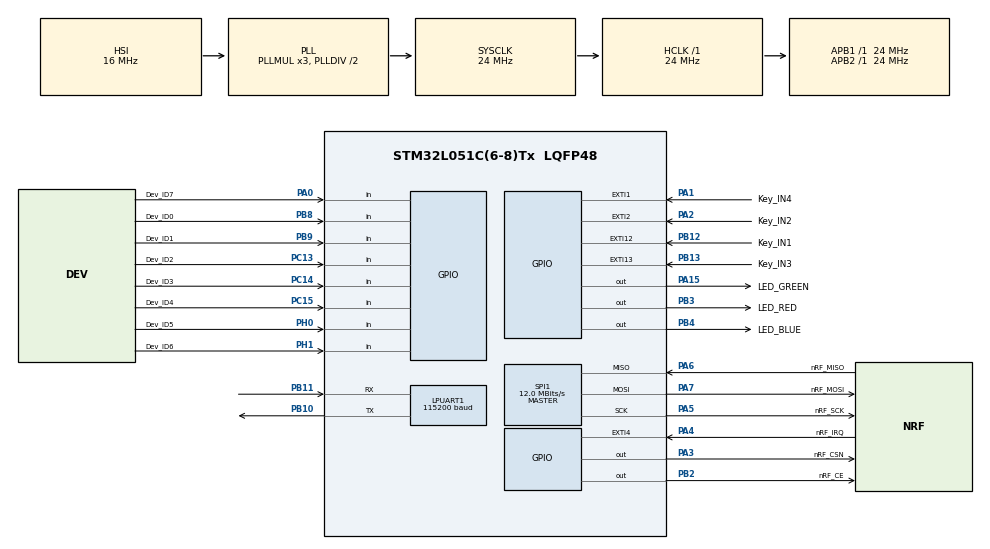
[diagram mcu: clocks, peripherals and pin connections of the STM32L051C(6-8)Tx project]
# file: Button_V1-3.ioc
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ADC.SamplingTime=ADC_SAMPLETIME_19CYCLES_5
LPUART1.BaudRate=115200
LPUART1.WordLength=UART_WORDLENGTH_8B
Mcu.Family=STM32L0
Mcu.Name=STM32L051C(6-8)Tx
Mcu.Package=LQFP48
NVIC.EXTI0_1_IRQn=true\:0\:0\:false\:false\:true\:true\:true\:true
NVIC.EXTI2_3_IRQn=true\:0\:0\:false\:false\:true\:true\:true\:true
NVIC.EXTI4_15_IRQn=true\:0\:0\:false\:false\:true\:true\:true\:true
PA0.GPIO_Label=Dev_ID7
PA0.GPIO_PuPd=GPIO_PULLDOWN
PA0.Signal=GPIO_Input
PA1.GPIO_Label=Key_IN4
PA1.GPIO_ModeDefaultEXTI=GPIO_MODE_IT_RISING
PA1.GPIO_PuPd=GPIO_PULLDOWN
PA1.Signal=GPXTI1
PA13.Mode=Serial_Wire
PA13.Signal=SYS_SWDIO
PA14.Mode=Serial_Wire
PA14.Signal=SYS_SWCLK
PA15.GPIO_Label=LED_GREEN
PA15.PinState=GPIO_PIN_SET
PA15.Signal=GPIO_Output
PA2.GPIO_Label=Key_IN2
PA2.GPIO_ModeDefaultEXTI=GPIO_MODE_IT_RISING
PA2.GPIO_PuPd=GPIO_PULLDOWN
PA2.Signal=GPXTI2
PA3.GPIO_Label=nRF_CSN
PA3.GPIO_Speed=GPIO_SPEED_FREQ_HIGH
PA3.PinState=GPIO_PIN_SET
PA3.Signal=GPIO_Output
PA4.GPIO_Label=nRF_IRQ
PA4.GPIO_ModeDefaultEXTI=GPIO_MODE_IT_FALLING
PA4.Signal=GPXTI4
PA5.GPIO_Label=nRF_SCK
PA5.Mode=Full_Duplex_Master
PA5.Signal=SPI1_SCK
PA6.GPIO_Label=nRF_MISO
PA6.Mode=Full_Duplex_Master
PA6.Signal=SPI1_MISO
PA7.GPIO_Label=nRF_MOSI
PA7.Mode=Full_Duplex_Master
PA7.Signal=SPI1_MOSI
PB10.Mode=Asynchronous
PB10.Signal=LPUART1_TX
PB11.Mode=Asynchronous
PB11.Signal=LPUART1_RX
PB12.GPIO_Label=Key_IN1
PB12.GPIO_ModeDefaultEXTI=GPIO_MODE_IT_RISING
PB12.GPIO_PuPd=GPIO_PULLDOWN
PB12.Signal=GPXTI12
PB13.GPIO_Label=Key_IN3
PB13.GPIO_ModeDefaultEXTI=GPIO_MODE_IT_RISING
PB13.GPIO_PuPd=GPIO_PULLDOWN
PB13.Signal=GPXTI13
PB2.GPIO_Label=nRF_CE
PB2.GPIO_Speed=GPIO_SPEED_FREQ_HIGH
PB2.Signal=GPIO_Output
PB3.GPIO_Label=LED_RED
PB3.PinState=GPIO_PIN_SET
PB3.Signal=GPIO_Output
PB4.GPIO_Label=LED_BLUE
PB4.PinState=GPIO_PIN_SET
PB4.Signal=GPIO_Output
PB8.GPIO_Label=Dev_ID0
PB8.GPIO_PuPd=GPIO_PULLDOWN
PB8.Signal=GPIO_Input
PB9.GPIO_Label=Dev_ID1
PB9.GPIO_PuPd=GPIO_PULLDOWN
PB9.Signal=GPIO_Input
PC13.GPIO_Label=Dev_ID2
PC13.GPIO_PuPd=GPIO_PULLDOWN
PC13.Signal=GPIO_Input
PC14-OSC32_IN.GPIO_Label=Dev_ID3
PC14-OSC32_IN.GPIO_PuPd=GPIO_PULLDOWN
PC14-OSC32_IN.Signal=GPIO_Input
PC15-OSC32_OUT.GPIO_Label=Dev_ID4
PC15-OSC32_OUT.GPIO_PuPd=GPIO_PULLDOWN
PC15-OSC32_OUT.Signal=GPIO_Input
PH0-OSC_IN.GPIO_Label=Dev_ID5
PH0-OSC_IN.GPIO_PuPd=GPIO_PULLDOWN
PH0-OSC_IN.Signal=GPIO_Input
PH1-OSC_OUT.GPIO_Label=Dev_ID6
PH1-OSC_OUT.GPIO_PuPd=GPIO_PULLDOWN
PH1-OSC_OUT.Signal=GPIO_Input
ProjectManager.HeapSize=0x200
ProjectManager.StackSize=0x400
ProjectManager.TargetToolchain=STM32CubeIDE
RCC.AHBFreq_Value=24000000
RCC.APB1Freq_Value=24000000
RCC.APB1TimFreq_Value=24000000
RCC.APB2Freq_Value=24000000
RCC.APB2TimFreq_Value=24000000
RCC.HCLKFreq_Value=24000000
RCC.HSE_VALUE=8000000
RCC.HSI16_VALUE=16000000
RCC.HSI_VALUE=16000000
RCC.LSE_VALUE=32768
RCC.MSI_VALUE=2097000
RCC.SYSCLKFreq_VALUE=24000000
RCC.SYSCLKSource=RCC_SYSCLKSOURCE_PLLCLK
RCC.VCOOutputFreq_Value=48000000
SPI1.CalculateBaudRate=12.0 MBits/s
SPI1.Direction=SPI_DIRECTION_2LINES
SPI1.Mode=SPI_MODE_MASTER
SPI1.VirtualType=VM_MASTER
VP_ADC_Vref_Input.Mode=IN-Vrefint
VP_TIM6_VS_ClockSourceINT.Mode=Enable_Timer
board=custom

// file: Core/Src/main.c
/* USER CODE BEGIN Header */
/**
  ******************************************************************************
  * @file           : main.c
  * @brief          : Main program body
  ******************************************************************************
  * @attention
  *
  * Copyright (c) 2023 STMicroelectronics.
  * All rights reserved.
  *
  * This software is licensed under terms that can be found in the LICENSE file
  * in the root directory of this software component.
  * If no LICENSE file comes with this software, it is provided AS-IS.
  *
  ******************************************************************************
  */
/* USER CODE END Header */
#include "main.h"

/* USER CODE BEGIN Includes */
#include <string.h>
#include <stdio.h>
#include "nrf24_Button.h"
/* USER CODE END Includes */

/* USER CODE BEGIN PD */

//#define Debug

/* USER CODE END PD */

ADC_HandleTypeDef hadc;

UART_HandleTypeDef hlpuart1;

SPI_HandleTypeDef hspi1;

TIM_HandleTypeDef htim6;

void SystemClock_Config(void);
static void MX_GPIO_Init(void);
static void MX_ADC_Init(void);
static void MX_LPUART1_UART_Init(void);
static void MX_SPI1_Init(void);
static void MX_TIM6_Init(void);

/* USER CODE BEGIN 0 */
uint8_t TxAddr[] = {0x00,0x34,0x36,0x52,0x53};
uint8_t RxAddr[] = {0x00,0x34,0x36,0x52,0x53};

uint16_t Press_Counter=0;
char counter_str[5];

uint8_t TxData[16];
uint8_t Button_ID = 0;
uint8_t RF_Channel_FRQ = 0;
uint16_t Batt_Vol = 0;
#define MIN_BATT_Vol 1000
uint8_t Need_To_Be_Charged = 0;
uint8_t Pressed_Key = 0;
uint8_t Sleep_Time = 0;
uint8_t Packet_Size = 16;
uint32_t adcValue;
float vddVoltage;
#define VREFINT_CAL_ADDR ((uint16_t*) ((uint32_t) 0x1FF80078))
#define VREFINT_VOLTAGE 3
uint16_t vrefintCalibrationValue;

#ifdef Timing_Test
uint32_t interrupt_time1 = 0;
uint32_t interrupt_time2 = 0;
uint32_t key1_time1 = 0;
uint32_t key1_time2 = 0;
uint32_t key2_time1 = 0;
uint32_t key2_time2 = 0;
uint32_t key3_time1 = 0;
uint32_t key3_time2 = 0;
uint32_t key4_time1 = 0;
uint32_t key4_time2 = 0;
uint32_t key1_time = 0;
uint32_t key2_time = 0;
uint32_t key3_time = 0;
uint32_t key4_time = 0;
uint32_t interrupt_time = 0;
uint32_t time_total = 0;
uint32_t ADC_time1 = 0;
uint32_t ADC_time2 = 0;
uint32_t interrupt_counter = 0;
#endif

uint8_t Read_Button_ID(void)
{
	uint8_t Addr = 0;
	Addr |= (HAL_GPIO_ReadPin(GPIOB, Dev_ID0_Pin) << 0);
	Addr |= (HAL_GPIO_ReadPin(GPIOB, Dev_ID1_Pin) << 1);
	Addr |= (HAL_GPIO_ReadPin(GPIOC, Dev_ID2_Pin) << 2);
	Addr |= (HAL_GPIO_ReadPin(GPIOC, Dev_ID3_Pin) << 3);
	Addr |= (HAL_GPIO_ReadPin(GPIOC, Dev_ID4_Pin) << 4);
	Addr |= (HAL_GPIO_ReadPin(GPIOH, Dev_ID5_Pin) << 5);
	Addr |= (HAL_GPIO_ReadPin(GPIOH, Dev_ID6_Pin) << 6);
	Addr |= (HAL_GPIO_ReadPin(Dev_ID7_GPIO_Port, Dev_ID7_Pin) << 7);

	return Addr;
}

// Dev_ID = 1  to 6   ---> Channel 100
// Dev_ID = 7  to 12  ---> Channel 101
// Dev_ID = 13 to 18  ---> Channel 102
// Dev_ID = 19 to 24  ---> Channel 103
// Dev_ID = 25 to 30  ---> Channel 104
// Dev_ID = 31 to 36  ---> Channel 105
uint8_t RF_Channel_Lookup(uint8_t ID)
{
	uint8_t RF_CH = 100 + ((ID-1) / 6);
	return RF_CH;
}

void HAL_GPIO_EXTI_Callback(uint16_t GPIO_Pin)
{
  /* Prevent unused argument(s) compilation warning */
  UNUSED(GPIO_Pin);

  /* NOTE : This function Should not be modified, when the callback is needed,
            the HAL_GPIO_EXTI_Callback could be implemented in the user file
   */

  HAL_NVIC_DisableIRQ(EXTI0_1_IRQn);
  HAL_NVIC_DisableIRQ(EXTI2_3_IRQn);
  HAL_NVIC_DisableIRQ(EXTI4_15_IRQn);

  /*** Wake up from stop mode in External Interrupt ***/
  SystemClock_Config();
  HAL_ResumeTick();
#ifndef Debug
  HAL_UART_Transmit(&hlpuart1, (uint8_t *)"WAKEUP from EXTI\n\n",18, HAL_MAX_DELAY);
#endif
#ifdef Timing_Test
  interrupt_time1 = HAL_GetTick();
#endif
  for (volatile uint32_t i = 0; i < 100000; i++);

  Press_Counter++;
  if(Press_Counter>65534) Press_Counter=0;

  if (GPIO_Pin == Key_IN1_Pin)
  {
#ifndef Debug
	  HAL_UART_Transmit(&hlpuart1, (uint8_t *)"Key1 Was pressed\n\n",18, HAL_MAX_DELAY);
#endif
	  Pressed_Key = 1;
  }
  if (GPIO_Pin == Key_IN2_Pin)
  {
#ifndef Debug
	  HAL_UART_Transmit(&hlpuart1, (uint8_t *)"Key2 Was pressed\n\n",18, HAL_MAX_DELAY);
#endif
	  Pressed_Key = 2;
  }
  if (GPIO_Pin == Key_IN3_Pin)
  {
#ifndef Debug
	  HAL_UART_Transmit(&hlpuart1, (uint8_t *)"Key3 Was pressed\n\n",18, HAL_MAX_DELAY);
#endif
	  Pressed_Key = 3;
  }
  if (GPIO_Pin == Key_IN4_Pin)
  {
#ifndef Debug
	  HAL_UART_Transmit(&hlpuart1, (uint8_t *)"Key4 Was pressed\n\n",18, HAL_MAX_DELAY);
#endif
	  Pressed_Key = 4;
  }
  //__HAL_GPIO_EXTI_CLEAR_IT(GPIO_Pin);
  HAL_NVIC_ClearPendingIRQ(EXTI0_1_IRQn);
  HAL_NVIC_ClearPendingIRQ(EXTI2_3_IRQn);
  HAL_NVIC_ClearPendingIRQ(EXTI4_15_IRQn);

  HAL_NVIC_EnableIRQ(EXTI0_1_IRQn);
  HAL_NVIC_EnableIRQ(EXTI2_3_IRQn);
  HAL_NVIC_EnableIRQ(EXTI4_15_IRQn);

#ifdef Timing_Test
  interrupt_time2 = HAL_GetTick();
#endif
}

/* USER CODE END 0 */

int main(void)
{

  /* MCU Configuration--------------------------------------------------------*/

  /* Reset of all peripherals, Initializes the Flash interface and the Systick. */
  HAL_Init();

  /* Configure the system clock */
  SystemClock_Config();

  /* Initialize all configured peripherals */
  MX_GPIO_Init();
  MX_ADC_Init();
  MX_LPUART1_UART_Init();
  MX_SPI1_Init();
  MX_TIM6_Init();
  /* USER CODE BEGIN 2 */

  HAL_Delay(10000);

  Button_ID = Read_Button_ID();                                       //Reading the Button ID through DIP Switch
  TxData[0] = Button_ID;
  RF_Channel_FRQ = RF_Channel_Lookup(Button_ID);                      //Define the Frequency Channel based on the Button_ID
  TxAddr[0] = Button_ID;                                              //Set the RF Module TxAddr based on Button_ID
  RxAddr[0] = Button_ID;                                              //Set the RF Module RxAddr based on Button_ID

  nRF24_Reset(nRF_CSN_Pin, nRF24_REG_STATUS);

  nRF24_Module_Setup(nRF_CSN_Pin, Transmitter_Mode_noAA_noCRC,
		             RF_Channel_FRQ, TxAddr, RxAddr, MBPS1_0dBm,
					 Packet_Size);

  nRF24_Register_Display(nRF_CSN_Pin);

  /* USER CODE END 2 */

  /* Infinite loop */
  while (1)
  {

    /* USER CODE BEGIN 3 */
	  //HAL_GPIO_TogglePin(LED_GREEN_GPIO_Port, LED_GREEN_Pin);
	  //HAL_GPIO_TogglePin(GPIOB, LED_BLUE_Pin);
	  //HAL_GPIO_TogglePin(GPIOB, LED_RED_Pin);
	  //HAL_Delay(500);

	  // Start ADC conversion
#ifdef Timing_Test
	  ADC_time1 = HAL_GetTick();
#endif
	  HAL_ADC_Start(&hadc);

	  if (HAL_ADC_PollForConversion(&hadc, 50) == HAL_OK)
	  {
		  adcValue = HAL_ADC_GetValue(&hadc);
		  vrefintCalibrationValue = *VREFINT_CAL_ADDR;
		  // Calculate VDD voltage
		  vddVoltage = ((float)vrefintCalibrationValue * VREFINT_VOLTAGE) / (float)adcValue;
		  vddVoltage = vddVoltage * 1.04;             //Based on the calculations and measurements, the MCU voltage usually be read %4 less than actual value

#ifdef Batt_Voltage_Test
		  char VDD_buffer[10];  // Buffer to hold the converted string
		  sprintf(VDD_buffer, "%.3f", vddVoltage);  // Convert integer to string
		  HAL_UART_Transmit(&hlpuart1, (uint8_t*)"vddVoltage: ", 12, 1000);
		  HAL_UART_Transmit(&hlpuart1, (uint8_t*)VDD_buffer, strlen(VDD_buffer), 1000);
		  HAL_UART_Transmit(&hlpuart1, (uint8_t*)"\n", 1, 1000);
#endif

		  if(vddVoltage < 3)
		  {
			  Need_To_Be_Charged = 1;
		  }
		  else
		  {
			  Need_To_Be_Charged = 0;
		  }
	  }
	  else
	  {
		  HAL_UART_Transmit(&hlpuart1, (uint8_t *)"ADC ERROR\n", 10, 10);
	  }
#ifdef Timing_Test
	  ADC_time2 = HAL_GetTick();
#endif

	  HAL_Delay(1);
	  //key1
	  if (Pressed_Key == 1)
	  {
#ifdef Timing_Test
		  key1_time1 = HAL_GetTick();
#endif
		  Pressed_Key = 0;

		  TxData[1] = 1;
		  nRF24_Transmit(nRF_CSN_Pin, TxData, Packet_Size);

		  //Check for the Battery Voltage to select the LED Color 2n4 a   1n3 b
		  while(HAL_GPIO_ReadPin(GPIOB, Key_IN1_Pin) == GPIO_PIN_SET)
		  {
			  if(Need_To_Be_Charged == 1)
			  {
				  HAL_GPIO_WritePin(GPIOB, LED_RED_Pin, GPIO_PIN_RESET);
			  }
			  else
			  {
			  	  HAL_GPIO_WritePin(LED_GREEN_GPIO_Port, LED_GREEN_Pin, GPIO_PIN_RESET);
	    	  }
		  }
		  HAL_GPIO_WritePin(GPIOB, LED_RED_Pin, GPIO_PIN_SET);
		  HAL_GPIO_WritePin(LED_GREEN_GPIO_Port, LED_GREEN_Pin, GPIO_PIN_SET);
#ifndef Debug
		  nRF24_Transmit_Report(nRF_CSN_Pin);
#endif
#ifdef Timing_Test
		  key1_time2 = HAL_GetTick();
#endif
	  }
	  //key2
	  if (Pressed_Key == 2)
	  {
#ifdef Timing_Test
		  key2_time1 = HAL_GetTick();
#endif
		  Pressed_Key = 0;

		  TxData[1] = 2;
		  nRF24_Transmit(nRF_CSN_Pin, TxData, Packet_Size);

		  //Check the Battery Voltage to select the LED Color 2n4 a   1n3 b
		  while(HAL_GPIO_ReadPin(GPIOA, Key_IN2_Pin) == GPIO_PIN_SET)
		  {
			  if(Need_To_Be_Charged == 1)
			  {
				  HAL_GPIO_WritePin(GPIOB, LED_RED_Pin, GPIO_PIN_RESET);
			  }
			  else
			  {
			  	  HAL_GPIO_WritePin(LED_GREEN_GPIO_Port, LED_GREEN_Pin, GPIO_PIN_RESET);
	    	  }
		  }
		  HAL_GPIO_WritePin(GPIOB, LED_RED_Pin, GPIO_PIN_SET);
		  HAL_GPIO_WritePin(LED_GREEN_GPIO_Port, LED_GREEN_Pin, GPIO_PIN_SET);
#ifndef Debug
		  nRF24_Transmit_Report(nRF_CSN_Pin);
#endif
#ifdef Timing_Test
		  key2_time2 = HAL_GetTick();
#endif
	  }
	  //key3
	  if (Pressed_Key == 3)
	  {
#ifdef Timing_Test
		  key3_time1 = HAL_GetTick();
#endif
		  Pressed_Key = 0;

		  TxData[1] = 3;
		  nRF24_Transmit(nRF_CSN_Pin, TxData, Packet_Size);

		  //Check for the Battery Voltage to select the LED Color 2n4 a   1n3 b
		  while(HAL_GPIO_ReadPin(GPIOB, Key_IN3_Pin) == GPIO_PIN_SET)
		  {
			  if(Need_To_Be_Charged == 1)
			  {
				  HAL_GPIO_WritePin(GPIOB, LED_RED_Pin, GPIO_PIN_RESET);
			  }
			  else
			  {
			  	  HAL_GPIO_WritePin(LED_GREEN_GPIO_Port, LED_GREEN_Pin, GPIO_PIN_RESET);
	    	  }
		  }
		  HAL_GPIO_WritePin(GPIOB, LED_RED_Pin, GPIO_PIN_SET);
		  HAL_GPIO_WritePin(LED_GREEN_GPIO_Port, LED_GREEN_Pin, GPIO_PIN_SET);
#ifndef Debug
		  nRF24_Transmit_Report(nRF_CSN_Pin);
#endif
#ifdef Timing_Test
		  key3_time2 = HAL_GetTick();
#endif
	  }

	  //key4
	  if (Pressed_Key == 4)
	  {
#ifdef Timing_Test
		  key4_time1 = HAL_GetTick();
#endif
		  Pressed_Key = 0;

		  TxData[1] = 4;
		  nRF24_Transmit(nRF_CSN_Pin, TxData, Packet_Size);

		  //Check for the Battery Voltage to select the LED Color 2n4 a   1n3 b
		  while(HAL_GPIO_ReadPin(GPIOA, Key_IN4_Pin) == GPIO_PIN_SET)
		  {
			  if(Need_To_Be_Charged == 1)
			  {
				  HAL_GPIO_WritePin(GPIOB, LED_RED_Pin, GPIO_PIN_RESET);
			  }
			  else
			  {
			  	  HAL_GPIO_WritePin(LED_GREEN_GPIO_Port, LED_GREEN_Pin, GPIO_PIN_RESET);
	    	  }
		  }
		  HAL_GPIO_WritePin(GPIOB, LED_RED_Pin, GPIO_PIN_SET);
		  HAL_GPIO_WritePin(LED_GREEN_GPIO_Port, LED_GREEN_Pin, GPIO_PIN_SET);
#ifndef Debug
		  nRF24_Transmit_Report(nRF_CSN_Pin);
#endif
#ifdef Timing_Test
		  key4_time2 = HAL_GetTick();
#endif
	  }

	  HAL_Delay(1);
#ifndef Debug
	  char *message = "About to Go into the STOP mode\n\n";
	  HAL_UART_Transmit(&hlpuart1, (uint8_t *)message, strlen (message), 100);    //Last Words
#endif
#ifdef Timing_Test
	  key1_time = key1_time2 - key1_time1;
	  key1_time1 = 0;
	  key1_time2 = 0;
	  key2_time = key2_time2 - key2_time1;
	  key2_time1 = 0;
	  key2_time2 = 0;
	  key3_time = key3_time2 - key3_time1;
	  key3_time1 = 0;
	  key3_time2 = 0;
	  key4_time = key4_time2 - key4_time1;
	  key4_time1 = 0;
	  key4_time2 = 0;
	  time_total = key1_time + key2_time + key3_time + key4_time;
	  interrupt_time = interrupt_time2 - interrupt_time1;

	  char time_buffer[10];  // Buffer to hold the converted string

	  sprintf(time_buffer, "%d", key1_time);  // Convert integer to string
	  HAL_UART_Transmit(&hlpuart1, (uint8_t*)"key1_time: ", 11, 1000);
	  HAL_UART_Transmit(&hlpuart1, (uint8_t*)time_buffer, strlen(time_buffer), 1000);
	  HAL_UART_Transmit(&hlpuart1, (uint8_t*)"\n", 1, 1000);

	  sprintf(time_buffer, "%d", key2_time);  // Convert integer to string
	  HAL_UART_Transmit(&hlpuart1, (uint8_t*)"key2_time: ", 11, 1000);
	  HAL_UART_Transmit(&hlpuart1, (uint8_t*)time_buffer, strlen(time_buffer), 1000);
	  HAL_UART_Transmit(&hlpuart1, (uint8_t*)"\n", 1, 1000);

	  sprintf(time_buffer, "%d", key3_time);  // Convert integer to string
	  HAL_UART_Transmit(&hlpuart1, (uint8_t*)"key3_time: ", 11, 1000);
	  HAL_UART_Transmit(&hlpuart1, (uint8_t*)time_buffer, strlen(time_buffer), 1000);
	  HAL_UART_Transmit(&hlpuart1, (uint8_t*)"\n", 1, 1000);

	  sprintf(time_buffer, "%d", key4_time);  // Convert integer to string
	  HAL_UART_Transmit(&hlpuart1, (uint8_t*)"key4_time: ", 11, 1000);
	  HAL_UART_Transmit(&hlpuart1, (uint8_t*)time_buffer, strlen(time_buffer), 1000);
	  HAL_UART_Transmit(&hlpuart1, (uint8_t*)"\n", 1, 1000);

	  sprintf(time_buffer, "%d", interrupt_time);  // Convert integer to string
	  HAL_UART_Transmit(&hlpuart1, (uint8_t*)"interrupt_time: ", 16, 1000);
	  HAL_UART_Transmit(&hlpuart1, (uint8_t*)time_buffer, strlen(time_buffer), 1000);
	  HAL_UART_Transmit(&hlpuart1, (uint8_t*)"\n", 1, 1000);

	  sprintf(time_buffer, "%d", time_total);  // Convert integer to string
	  HAL_UART_Transmit(&hlpuart1, (uint8_t*)"time_total: ", 12, 1000);
	  HAL_UART_Transmit(&hlpuart1, (uint8_t*)time_buffer, strlen(time_buffer), 1000);
	  HAL_UART_Transmit(&hlpuart1, (uint8_t*)"\n", 1, 1000);

	  sprintf(time_buffer, "%d", Press_Counter);  // Convert integer to string
	  HAL_UART_Transmit(&hlpuart1, (uint8_t*)"Press_Counter: ", 15, 1000);
	  HAL_UART_Transmit(&hlpuart1, (uint8_t*)time_buffer, strlen(time_buffer), 1000);
	  HAL_UART_Transmit(&hlpuart1, (uint8_t*)"\n", 1, 1000);

	  key1_time = 0;
	  key2_time = 0;
	  key3_time = 0;
	  key4_time = 0;
	  time_total = 0;
#endif

	  HAL_SuspendTick();                                                          //Suspend the sys tick before going into stop mode
	  HAL_PWR_EnterSTOPMode(PWR_LOWPOWERREGULATOR_ON, PWR_STOPENTRY_WFI);         //Enter the stop mode

  }
  /* USER CODE END 3 */
}

void SystemClock_Config(void)
{
  RCC_OscInitTypeDef RCC_OscInitStruct = {0};
  RCC_ClkInitTypeDef RCC_ClkInitStruct = {0};
  RCC_PeriphCLKInitTypeDef PeriphClkInit = {0};

  /** Configure the main internal regulator output voltage
  */
  __HAL_PWR_VOLTAGESCALING_CONFIG(PWR_REGULATOR_VOLTAGE_SCALE1);

  /** Initializes the RCC Oscillators according to the specified parameters
  * in the RCC_OscInitTypeDef structure.
  */
  RCC_OscInitStruct.OscillatorType = RCC_OSCILLATORTYPE_HSI;
  RCC_OscInitStruct.HSIState = RCC_HSI_ON;
  RCC_OscInitStruct.HSICalibrationValue = RCC_HSICALIBRATION_DEFAULT;
  RCC_OscInitStruct.PLL.PLLState = RCC_PLL_ON;
  RCC_OscInitStruct.PLL.PLLSource = RCC_PLLSOURCE_HSI;
  RCC_OscInitStruct.PLL.PLLMUL = RCC_PLLMUL_3;
  RCC_OscInitStruct.PLL.PLLDIV = RCC_PLLDIV_2;
  if (HAL_RCC_OscConfig(&RCC_OscInitStruct) != HAL_OK)
  {
    Error_Handler();
  }

  /** Initializes the CPU, AHB and APB buses clocks
  */
  RCC_ClkInitStruct.ClockType = RCC_CLOCKTYPE_HCLK|RCC_CLOCKTYPE_SYSCLK
                              |RCC_CLOCKTYPE_PCLK1|RCC_CLOCKTYPE_PCLK2;
  RCC_ClkInitStruct.SYSCLKSource = RCC_SYSCLKSOURCE_PLLCLK;
  RCC_ClkInitStruct.AHBCLKDivider = RCC_SYSCLK_DIV1;
  RCC_ClkInitStruct.APB1CLKDivider = RCC_HCLK_DIV1;
  RCC_ClkInitStruct.APB2CLKDivider = RCC_HCLK_DIV1;

  if (HAL_RCC_ClockConfig(&RCC_ClkInitStruct, FLASH_LATENCY_1) != HAL_OK)
  {
    Error_Handler();
  }
  PeriphClkInit.PeriphClockSelection = RCC_PERIPHCLK_LPUART1;
  PeriphClkInit.Lpuart1ClockSelection = RCC_LPUART1CLKSOURCE_PCLK1;
  if (HAL_RCCEx_PeriphCLKConfig(&PeriphClkInit) != HAL_OK)
  {
    Error_Handler();
  }
}

static void MX_ADC_Init(void)
{

  ADC_ChannelConfTypeDef sConfig = {0};

  /** Configure the global features of the ADC (Clock, Resolution, Data Alignment and number of conversion)
  */
  hadc.Instance = ADC1;
  hadc.Init.OversamplingMode = DISABLE;
  hadc.Init.ClockPrescaler = ADC_CLOCK_SYNC_PCLK_DIV2;
  hadc.Init.Resolution = ADC_RESOLUTION_12B;
  hadc.Init.SamplingTime = ADC_SAMPLETIME_1CYCLE_5;
  hadc.Init.ScanConvMode = ADC_SCAN_DIRECTION_FORWARD;
  hadc.Init.DataAlign = ADC_DATAALIGN_RIGHT;
  hadc.Init.ContinuousConvMode = DISABLE;
  hadc.Init.DiscontinuousConvMode = DISABLE;
  hadc.Init.ExternalTrigConvEdge = ADC_EXTERNALTRIGCONVEDGE_NONE;
  hadc.Init.ExternalTrigConv = ADC_SOFTWARE_START;
  hadc.Init.DMAContinuousRequests = DISABLE;
  hadc.Init.EOCSelection = ADC_EOC_SINGLE_CONV;
  hadc.Init.Overrun = ADC_OVR_DATA_PRESERVED;
  hadc.Init.LowPowerAutoWait = DISABLE;
  hadc.Init.LowPowerFrequencyMode = DISABLE;
  hadc.Init.LowPowerAutoPowerOff = DISABLE;
  if (HAL_ADC_Init(&hadc) != HAL_OK)
  {
    Error_Handler();
  }

  /** Configure for the selected ADC regular channel to be converted.
  */
  sConfig.Channel = ADC_CHANNEL_VREFINT;
  sConfig.Rank = ADC_RANK_CHANNEL_NUMBER;
  if (HAL_ADC_ConfigChannel(&hadc, &sConfig) != HAL_OK)
  {
    Error_Handler();
  }

}

static void MX_LPUART1_UART_Init(void)
{

  hlpuart1.Instance = LPUART1;
  hlpuart1.Init.BaudRate = 115200;
  hlpuart1.Init.WordLength = UART_WORDLENGTH_8B;
  hlpuart1.Init.StopBits = UART_STOPBITS_1;
  hlpuart1.Init.Parity = UART_PARITY_NONE;
  hlpuart1.Init.Mode = UART_MODE_TX_RX;
  hlpuart1.Init.HwFlowCtl = UART_HWCONTROL_NONE;
  hlpuart1.Init.OneBitSampling = UART_ONE_BIT_SAMPLE_DISABLE;
  hlpuart1.AdvancedInit.AdvFeatureInit = UART_ADVFEATURE_NO_INIT;
  if (HAL_UART_Init(&hlpuart1) != HAL_OK)
  {
    Error_Handler();
  }

}

static void MX_SPI1_Init(void)
{

  /* SPI1 parameter configuration*/
  hspi1.Instance = SPI1;
  hspi1.Init.Mode = SPI_MODE_MASTER;
  hspi1.Init.Direction = SPI_DIRECTION_2LINES;
  hspi1.Init.DataSize = SPI_DATASIZE_8BIT;
  hspi1.Init.CLKPolarity = SPI_POLARITY_LOW;
  hspi1.Init.CLKPhase = SPI_PHASE_1EDGE;
  hspi1.Init.NSS = SPI_NSS_SOFT;
  hspi1.Init.BaudRatePrescaler = SPI_BAUDRATEPRESCALER_2;
  hspi1.Init.FirstBit = SPI_FIRSTBIT_MSB;
  hspi1.Init.TIMode = SPI_TIMODE_DISABLE;
  hspi1.Init.CRCCalculation = SPI_CRCCALCULATION_DISABLE;
  hspi1.Init.CRCPolynomial = 7;
  if (HAL_SPI_Init(&hspi1) != HAL_OK)
  {
    Error_Handler();
  }

}

static void MX_TIM6_Init(void)
{

  TIM_MasterConfigTypeDef sMasterConfig = {0};

  htim6.Instance = TIM6;
  htim6.Init.Prescaler = 0;
  htim6.Init.CounterMode = TIM_COUNTERMODE_UP;
  htim6.Init.Period = 65535;
  htim6.Init.AutoReloadPreload = TIM_AUTORELOAD_PRELOAD_DISABLE;
  if (HAL_TIM_Base_Init(&htim6) != HAL_OK)
  {
    Error_Handler();
  }
  sMasterConfig.MasterOutputTrigger = TIM_TRGO_RESET;
  sMasterConfig.MasterSlaveMode = TIM_MASTERSLAVEMODE_DISABLE;
  if (HAL_TIMEx_MasterConfigSynchronization(&htim6, &sMasterConfig) != HAL_OK)
  {
    Error_Handler();
  }

}

static void MX_GPIO_Init(void)
{
  GPIO_InitTypeDef GPIO_InitStruct = {0};

  /* GPIO Ports Clock Enable */
  __HAL_RCC_GPIOC_CLK_ENABLE();
  __HAL_RCC_GPIOH_CLK_ENABLE();
  __HAL_RCC_GPIOA_CLK_ENABLE();
  __HAL_RCC_GPIOB_CLK_ENABLE();

  /*Configure GPIO pin Output Level */
  HAL_GPIO_WritePin(GPIOA, nRF_CSN_Pin|LED_GREEN_Pin, GPIO_PIN_SET);

  /*Configure GPIO pin Output Level */
  HAL_GPIO_WritePin(nRF_CE_GPIO_Port, nRF_CE_Pin, GPIO_PIN_RESET);

  /*Configure GPIO pin Output Level */
  HAL_GPIO_WritePin(GPIOB, LED_RED_Pin|LED_BLUE_Pin, GPIO_PIN_SET);

  /*Configure GPIO pins : Dev_ID2_Pin Dev_ID3_Pin Dev_ID4_Pin */
  GPIO_InitStruct.Pin = Dev_ID2_Pin|Dev_ID3_Pin|Dev_ID4_Pin;
  GPIO_InitStruct.Mode = GPIO_MODE_INPUT;
  GPIO_InitStruct.Pull = GPIO_PULLDOWN;
  HAL_GPIO_Init(GPIOC, &GPIO_InitStruct);

  /*Configure GPIO pins : Dev_ID5_Pin Dev_ID6_Pin */
  GPIO_InitStruct.Pin = Dev_ID5_Pin|Dev_ID6_Pin;
  GPIO_InitStruct.Mode = GPIO_MODE_INPUT;
  GPIO_InitStruct.Pull = GPIO_PULLDOWN;
  HAL_GPIO_Init(GPIOH, &GPIO_InitStruct);

  /*Configure GPIO pin : Dev_ID7_Pin */
  GPIO_InitStruct.Pin = Dev_ID7_Pin;
  GPIO_InitStruct.Mode = GPIO_MODE_INPUT;
  GPIO_InitStruct.Pull = GPIO_PULLDOWN;
  HAL_GPIO_Init(Dev_ID7_GPIO_Port, &GPIO_InitStruct);

  /*Configure GPIO pins : Key_IN4_Pin Key_IN2_Pin */
  GPIO_InitStruct.Pin = Key_IN4_Pin|Key_IN2_Pin;
  GPIO_InitStruct.Mode = GPIO_MODE_IT_RISING;
  GPIO_InitStruct.Pull = GPIO_PULLDOWN;
  HAL_GPIO_Init(GPIOA, &GPIO_InitStruct);

  /*Configure GPIO pin : nRF_CSN_Pin */
  GPIO_InitStruct.Pin = nRF_CSN_Pin;
  GPIO_InitStruct.Mode = GPIO_MODE_OUTPUT_PP;
  GPIO_InitStruct.Pull = GPIO_NOPULL;
  GPIO_InitStruct.Speed = GPIO_SPEED_FREQ_HIGH;
  HAL_GPIO_Init(nRF_CSN_GPIO_Port, &GPIO_InitStruct);

  /*Configure GPIO pin : nRF_IRQ_Pin */
  GPIO_InitStruct.Pin = nRF_IRQ_Pin;
  GPIO_InitStruct.Mode = GPIO_MODE_IT_FALLING;
  GPIO_InitStruct.Pull = GPIO_NOPULL;
  HAL_GPIO_Init(nRF_IRQ_GPIO_Port, &GPIO_InitStruct);

  /*Configure GPIO pin : nRF_CE_Pin */
  GPIO_InitStruct.Pin = nRF_CE_Pin;
  GPIO_InitStruct.Mode = GPIO_MODE_OUTPUT_PP;
  GPIO_InitStruct.Pull = GPIO_NOPULL;
  GPIO_InitStruct.Speed = GPIO_SPEED_FREQ_HIGH;
  HAL_GPIO_Init(nRF_CE_GPIO_Port, &GPIO_InitStruct);

  /*Configure GPIO pins : Key_IN1_Pin Key_IN3_Pin */
  GPIO_InitStruct.Pin = Key_IN1_Pin|Key_IN3_Pin;
  GPIO_InitStruct.Mode = GPIO_MODE_IT_RISING;
  GPIO_InitStruct.Pull = GPIO_PULLDOWN;
  HAL_GPIO_Init(GPIOB, &GPIO_InitStruct);

  /*Configure GPIO pin : LED_GREEN_Pin */
  GPIO_InitStruct.Pin = LED_GREEN_Pin;
  GPIO_InitStruct.Mode = GPIO_MODE_OUTPUT_PP;
  GPIO_InitStruct.Pull = GPIO_NOPULL;
  GPIO_InitStruct.Speed = GPIO_SPEED_FREQ_LOW;
  HAL_GPIO_Init(LED_GREEN_GPIO_Port, &GPIO_InitStruct);

  /*Configure GPIO pins : LED_RED_Pin LED_BLUE_Pin */
  GPIO_InitStruct.Pin = LED_RED_Pin|LED_BLUE_Pin;
  GPIO_InitStruct.Mode = GPIO_MODE_OUTPUT_PP;
  GPIO_InitStruct.Pull = GPIO_NOPULL;
  GPIO_InitStruct.Speed = GPIO_SPEED_FREQ_LOW;
  HAL_GPIO_Init(GPIOB, &GPIO_InitStruct);

  /*Configure GPIO pins : Dev_ID0_Pin Dev_ID1_Pin */
  GPIO_InitStruct.Pin = Dev_ID0_Pin|Dev_ID1_Pin;
  GPIO_InitStruct.Mode = GPIO_MODE_INPUT;
  GPIO_InitStruct.Pull = GPIO_PULLDOWN;
  HAL_GPIO_Init(GPIOB, &GPIO_InitStruct);

  /* EXTI interrupt init*/
  HAL_NVIC_SetPriority(EXTI0_1_IRQn, 0, 0);
  HAL_NVIC_EnableIRQ(EXTI0_1_IRQn);

  HAL_NVIC_SetPriority(EXTI2_3_IRQn, 0, 0);
  HAL_NVIC_EnableIRQ(EXTI2_3_IRQn);

  HAL_NVIC_SetPriority(EXTI4_15_IRQn, 0, 0);
  HAL_NVIC_EnableIRQ(EXTI4_15_IRQn);

}

/* USER CODE BEGIN 4 */
void PWR_EnterStopMode(void)
{
	HAL_SuspendTick();
	HAL_PWR_EnableSleepOnExit();
	HAL_PWR_EnterSTOPMode(PWR_LOWPOWERREGULATOR_ON, PWR_STOPENTRY_WFI);

}
/* USER CODE END 4 */

void Error_Handler(void)
{
  __disable_irq();
  while (1)
  {
  }
}
